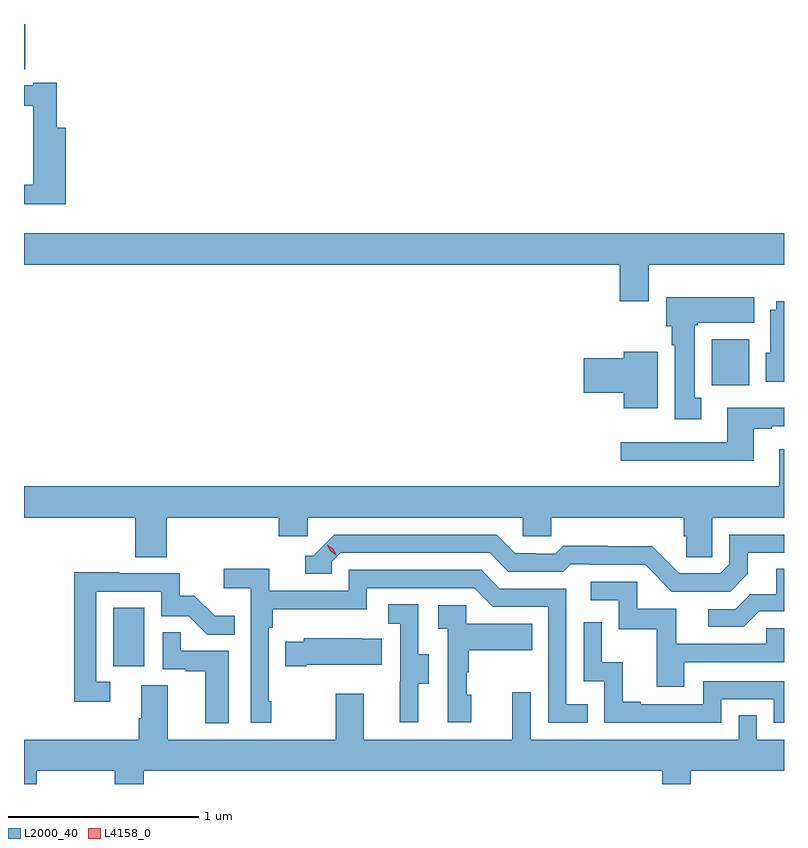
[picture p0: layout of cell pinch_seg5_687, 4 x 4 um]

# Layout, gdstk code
import gdstk
lib = gdstk.Library(unit=1e-6, precision=1e-09)
def R(c, l, rs):  # rectangles x0, y0, x1, y1
    for r in rs: c.add(gdstk.rectangle(r[:2], r[2:], *l))
def P(c, l, *ps):  # polygons
    for p in ps: c.add(gdstk.Polygon(p, *l))
L2000_40 = (2000, 40)
L4158_0 = (4158, 0)

pinch_seg5_687 = lib.new_cell('pinch_seg5_687')
R(pinch_seg5_687, L2000_40, [(1106.156,841.326,1106.32,841.633), (1109.306,842.804,1109.503,843.046), (1105.687,844.468,1105.694,844.706)])
P(pinch_seg5_687, L2000_40, [(1105.907,844.159),(1105.859,844.159),(1105.859,844.396),(1105.736,844.396),(1105.736,844.383),(1105.687,844.383),(1105.687,844.275),(1105.736,844.275),(1105.736,843.86),(1105.687,843.86),(1105.687,843.758),(1105.907,843.758)],
  [(1108.975,843.44),(1109.687,843.44),(1109.687,843.604),(1105.687,843.604),(1105.687,843.44),(1108.823,843.44),(1108.823,843.246),(1108.975,843.246)],
  [(1109.251,842.738),(1109.218,842.738),(1109.218,843.121),(1109.232,843.121),(1109.232,843.134),(1109.53,843.134),(1109.53,843.268),(1109.066,843.268),(1109.066,843.114),(1109.096,843.114),(1109.096,843.014),(1109.111,843.014),(1109.111,842.625),(1109.251,842.625)],
  [(1109.687,843.247),(1109.645,843.247),(1109.645,843.202),(1109.615,843.202),(1109.615,842.976),(1109.591,842.976),(1109.591,842.822),(1109.687,842.822)],
  [(1109.023,842.98),(1108.844,842.98),(1108.844,842.948),(1108.632,842.948),(1108.632,842.765),(1108.844,842.765),(1108.844,842.684),(1109.023,842.684)],
  [(1109.527,842.577),(1109.623,842.577),(1109.623,842.589),(1109.687,842.589),(1109.687,842.686),(1109.387,842.686),(1109.387,842.505),(1108.827,842.505),(1108.827,842.408),(1109.527,842.408)],
  [(1106.438,842.108),(1107.029,842.108),(1107.029,842.01),(1107.18,842.01),(1107.18,842.108),(1108.311,842.108),(1108.311,842.01),(1108.461,842.01),(1108.461,842.108),(1109.159,842.108),(1109.159,842.01),(1109.173,842.01),(1109.173,841.9),(1109.31,841.9),(1109.31,842.108),(1109.687,842.108),(1109.687,842.467),(1109.663,842.467),(1109.663,842.272),(1105.687,842.272),(1105.687,842.108),(1106.273,842.108),(1106.273,841.9),(1106.438,841.9)],
  [(1109.497,841.813),(1109.497,841.923),(1109.687,841.923),(1109.687,842.019),(1109.4,842.019),(1109.4,841.863),(1109.352,841.815),(1109.136,841.815),(1108.994,841.957),(1108.758,841.957),(1108.758,841.96),(1108.525,841.96),(1108.483,841.917),(1108.38,841.917),(1108.38,841.92),(1108.273,841.92),(1108.174,842.019),(1107.321,842.019),(1107.21,841.908),(1107.167,841.908),(1107.167,841.812),(1107.306,841.812),(1107.306,841.875),(1107.354,841.923),(1108.137,841.923),(1108.236,841.824),(1108.525,841.824),(1108.564,841.863),(1108.663,841.863),(1108.663,841.86),(1108.956,841.86),(1109.097,841.719),(1109.403,841.719)],
  [(1106.989,841.141),(1106.976,841.141),(1106.976,841.529),(1106.996,841.529),(1106.996,841.625),(1107.492,841.625),(1107.492,841.737),(1108.056,841.737),(1108.155,841.638),(1108.446,841.638),(1108.446,841.029),(1108.655,841.029),(1108.655,841.125),(1108.542,841.125),(1108.542,841.734),(1108.192,841.734),(1108.093,841.833),(1107.396,841.833),(1107.396,841.722),(1106.978,841.722),(1106.978,841.838),(1106.739,841.838),(1106.739,841.736),(1106.88,841.736),(1106.88,841.029),(1106.989,841.029)],
  [(1109.557,841.614),(1109.687,841.614),(1109.687,841.838),(1109.645,841.838),(1109.645,841.706),(1109.51,841.706),(1109.43,841.626),(1109.289,841.626),(1109.289,841.533),(1109.476,841.533)],
  [(1106.14,841.245),(1106.067,841.245),(1106.067,841.719),(1106.409,841.719),(1106.409,841.59),(1106.554,841.59),(1106.652,841.492),(1106.795,841.492),(1106.795,841.591),(1106.691,841.591),(1106.584,841.698),(1106.508,841.698),(1106.508,841.815),(1106.189,841.815),(1106.189,841.82),(1105.951,841.82),(1105.951,841.14),(1106.14,841.14)],
  [(1109.161,841.347),(1109.687,841.347),(1109.687,841.527),(1109.593,841.527),(1109.593,841.443),(1109.119,841.443),(1109.119,841.629),(1108.914,841.629),(1108.914,841.77),(1108.671,841.77),(1108.671,841.674),(1108.818,841.674),(1108.818,841.521),(1109.017,841.521),(1109.017,841.218),(1109.161,841.218)],
  [(1107.763,841.234),(1107.817,841.234),(1107.817,841.389),(1107.762,841.389),(1107.762,841.652),(1107.603,841.652),(1107.603,841.549),(1107.666,841.549),(1107.666,841.245),(1107.665,841.245),(1107.665,841.032),(1107.763,841.032)],
  [(1108.042,841.176),(1108.017,841.176),(1108.017,841.295),(1108.027,841.295),(1108.027,841.409),(1108.361,841.409),(1108.361,841.549),(1108.014,841.549),(1108.014,841.647),(1107.867,841.647),(1107.867,841.523),(1107.918,841.523),(1107.918,841.032),(1108.042,841.032)],
  [(1109.358,841.152),(1109.634,841.152),(1109.634,841.029),(1109.687,841.029),(1109.687,841.248),(1109.262,841.248),(1109.262,841.125),(1108.933,841.125),(1108.933,841.138),(1108.838,841.138),(1108.838,841.346),(1108.728,841.346),(1108.728,841.558),(1108.632,841.558),(1108.632,841.248),(1108.74,841.248),(1108.74,841.029),(1109.358,841.029)],
  [(1106.764,841.407),(1106.513,841.407),(1106.513,841.505),(1106.418,841.505),(1106.418,841.311),(1106.539,841.311),(1106.539,841.299),(1106.642,841.299),(1106.642,841.025),(1106.764,841.025)],
  [(1107.172,841.334),(1107.569,841.334),(1107.569,841.471),(1107.461,841.471),(1107.461,841.474),(1107.159,841.474),(1107.159,841.456),(1107.061,841.456),(1107.061,841.327),(1107.172,841.327)],
  [(1108.353,841.189),(1108.256,841.189),(1108.256,840.94),(1107.475,840.94),(1107.475,841.18),(1107.328,841.18),(1107.328,840.94),(1106.443,840.94),(1106.443,841.226),(1106.303,841.226),(1106.303,841.052),(1106.291,841.052),(1106.291,840.94),(1105.687,840.94),(1105.687,840.706),(1105.753,840.706),(1105.753,840.776),(1106.165,840.776),(1106.165,840.706),(1106.318,840.706),(1106.318,840.776),(1109.045,840.776),(1109.045,840.706),(1109.197,840.706),(1109.197,840.776),(1109.687,840.776),(1109.687,840.94),(1109.544,840.94),(1109.544,841.067),(1109.448,841.067),(1109.448,840.94),(1108.353,840.94)])
P(pinch_seg5_687, L4158_0, [(1107.331,841.91),(1107.3,841.93),(1107.284,841.962),(1107.284,841.963),(1107.285,841.963),(1107.315,841.943),(1107.331,841.91),(1107.331,841.91)])

lib.write_gds('pinch_seg5_687.gds')
